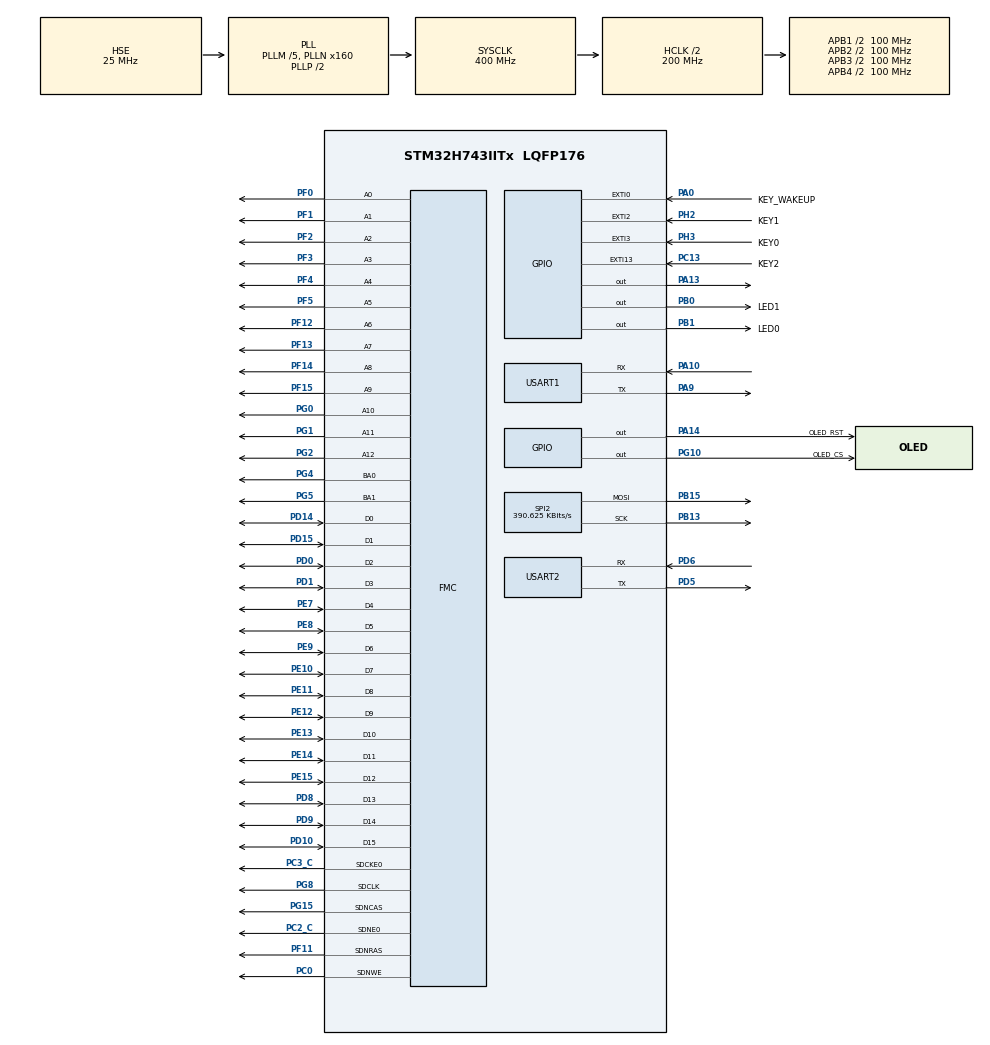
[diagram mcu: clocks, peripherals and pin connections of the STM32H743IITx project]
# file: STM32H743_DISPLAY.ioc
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CORTEX_M7.CPU_DCache=Enabled
CORTEX_M7.CPU_ICache=Enabled
CORTEX_M7.default_mode_Activation=0
FMC.CASLatency1=FMC_SDRAM_CAS_LATENCY_2
FMC.ColumnBitsNumber1=FMC_SDRAM_COLUMN_BITS_NUM_9
FMC.ExitSelfRefreshDelay1=8
FMC.LoadToActiveDelay1=2
FMC.RCDDelay1=2
FMC.RPDelay1=2
FMC.RPDelay2=2
FMC.ReadBurst1=FMC_SDRAM_RBURST_ENABLE
FMC.ReadBurst2=FMC_SDRAM_RBURST_ENABLE
FMC.ReadPipeDelay1=FMC_SDRAM_RPIPE_DELAY_0
FMC.RowCycleDelay1=6
FMC.RowCycleDelay2=6
FMC.SDClockPeriod1=FMC_SDRAM_CLOCK_PERIOD_2
FMC.SDClockPeriod2=FMC_SDRAM_CLOCK_PERIOD_2
FMC.SelfRefreshTime1=6
FMC.WriteRecoveryTime1=4
Mcu.Family=STM32H7
Mcu.Name=STM32H743IITx
Mcu.Package=LQFP176
NVIC.EXTI0_IRQn=true\:0\:0\:false\:false\:true\:true\:true\:true
NVIC.EXTI15_10_IRQn=true\:0\:0\:false\:false\:true\:true\:true\:true
NVIC.EXTI2_IRQn=true\:0\:0\:false\:false\:true\:true\:true\:true
NVIC.EXTI3_IRQn=true\:0\:0\:false\:false\:true\:true\:true\:true
NVIC.PriorityGroup=NVIC_PRIORITYGROUP_4
PA0.GPIO_Label=KEY_WAKEUP
PA0.GPIO_ModeDefaultEXTI=GPIO_MODE_IT_RISING
PA0.GPIO_PuPd=GPIO_PULLDOWN
PA0.Signal=GPXTI0
PA10.GPIO_PuPd=GPIO_PULLUP
PA10.GPIO_Speed=GPIO_SPEED_FREQ_HIGH
PA10.Mode=Asynchronous
PA10.Signal=USART1_RX
PA13\ (JTMS/SWDIO).Signal=GPIO_Output
PA14\ (JTCK/SWCLK).GPIO_Label=OLED_RST
PA14\ (JTCK/SWCLK).GPIO_PuPd=GPIO_PULLUP
PA14\ (JTCK/SWCLK).PinState=GPIO_PIN_SET
PA14\ (JTCK/SWCLK).Signal=GPIO_Output
PA9.GPIO_PuPd=GPIO_PULLUP
PA9.GPIO_Speed=GPIO_SPEED_FREQ_HIGH
PA9.Mode=Asynchronous
PA9.Signal=USART1_TX
PB0.GPIO_Label=LED1
PB0.GPIO_PuPd=GPIO_PULLDOWN
PB0.PinState=GPIO_PIN_SET
PB0.Signal=GPIO_Output
PB1.GPIO_Label=LED0
PB1.GPIO_PuPd=GPIO_PULLDOWN
PB1.PinState=GPIO_PIN_SET
PB1.Signal=GPIO_Output
PB13.Mode=TX_Only_Simplex_Unidirect_Master
PB13.Signal=SPI2_SCK
PB15.Mode=TX_Only_Simplex_Unidirect_Master
PB15.Signal=SPI2_MOSI
PC0.Signal=FMC_SDNWE
PC13.GPIO_Label=KEY2
PC13.GPIO_PuPd=GPIO_PULLUP
PC13.Signal=GPXTI13
PC14-OSC32_IN\ (OSC32_IN).Mode=LSE-External-Oscillator
PC14-OSC32_IN\ (OSC32_IN).Signal=RCC_OSC32_IN
PC15-OSC32_OUT\ (OSC32_OUT).Mode=LSE-External-Oscillator
PC15-OSC32_OUT\ (OSC32_OUT).Signal=RCC_OSC32_OUT
PC2_C.Mode=SdramChipSelect1_1
PC2_C.Signal=FMC_SDNE0
PC3_C.Mode=SdramChipSelect1_1
PC3_C.Signal=FMC_SDCKE0
PD0.Signal=FMC_D2_DA2
PD1.Signal=FMC_D3_DA3
PD10.Signal=FMC_D15_DA15
PD14.Signal=FMC_D0_DA0
PD15.Signal=FMC_D1_DA1
PD5.GPIO_PuPd=GPIO_PULLUP
PD5.GPIO_Speed=GPIO_SPEED_FREQ_HIGH
PD5.Mode=Asynchronous
PD5.Signal=USART2_TX
PD6.GPIO_PuPd=GPIO_PULLUP
PD6.GPIO_Speed=GPIO_SPEED_FREQ_HIGH
PD6.Mode=Asynchronous
PD6.Signal=USART2_RX
PD8.Signal=FMC_D13_DA13
PD9.Signal=FMC_D14_DA14
PE10.Signal=FMC_D7_DA7
PE11.Signal=FMC_D8_DA8
PE12.Signal=FMC_D9_DA9
PE13.Signal=FMC_D10_DA10
PE14.Signal=FMC_D11_DA11
PE15.Signal=FMC_D12_DA12
PE7.Signal=FMC_D4_DA4
PE8.Signal=FMC_D5_DA5
PE9.Signal=FMC_D6_DA6
PF0.Signal=FMC_A0
PF1.Signal=FMC_A1
PF11.Signal=FMC_SDNRAS
PF12.Signal=FMC_A6
PF13.Signal=FMC_A7
PF14.Signal=FMC_A8
PF15.Signal=FMC_A9
PF2.Signal=FMC_A2
PF3.Signal=FMC_A3
PF4.Signal=FMC_A4
PF5.Signal=FMC_A5
PG0.Signal=FMC_A10
PG1.Signal=FMC_A11
PG10.GPIO_Label=OLED_CS
PG10.GPIO_PuPd=GPIO_PULLUP
PG10.GPIO_Speed=GPIO_SPEED_FREQ_HIGH
PG10.PinState=GPIO_PIN_SET
PG10.Signal=GPIO_Output
PG15.Signal=FMC_SDNCAS
PG2.Signal=FMC_A12
PG4.Signal=FMC_A14_BA0
PG5.Signal=FMC_A15_BA1
PG8.Signal=FMC_SDCLK
PH0-OSC_IN\ (PH0).Mode=HSE-External-Oscillator
PH0-OSC_IN\ (PH0).Signal=RCC_OSC_IN
PH1-OSC_OUT\ (PH1).Mode=HSE-External-Oscillator
PH1-OSC_OUT\ (PH1).Signal=RCC_OSC_OUT
PH2.GPIO_Label=KEY1
PH2.GPIO_PuPd=GPIO_PULLUP
PH2.Signal=GPXTI2
PH3.GPIO_Label=KEY0
PH3.GPIO_PuPd=GPIO_PULLUP
PH3.Signal=GPXTI3
ProjectManager.HeapSize=0x1000
ProjectManager.StackSize=0x1000
ProjectManager.TargetToolchain=MDK-ARM V5.32
RCC.ADCFreq_Value=100000000
RCC.APB1Freq_Value=100000000
RCC.APB2Freq_Value=100000000
RCC.APB3Freq_Value=100000000
RCC.APB4Freq_Value=100000000
RCC.CortexFreq_Value=400000000
RCC.D1PPRE=RCC_APB3_DIV2
RCC.D2PPRE1=RCC_APB1_DIV2
RCC.D2PPRE2=RCC_APB2_DIV2
RCC.D3PPRE=RCC_APB4_DIV2
RCC.DIVM1=5
RCC.DIVM2=5
RCC.DIVM3=25
RCC.DIVN1=160
RCC.DIVN2=100
RCC.DIVN3=512
RCC.DIVP2=5
RCC.DIVR2=5
RCC.FMCCLockSelection=RCC_FMCCLKSOURCE_PLL2
RCC.HCLKFreq_Value=200000000
RCC.HPRE=RCC_HCLK_DIV2
RCC.PLLSourceVirtual=RCC_PLLSOURCE_HSE
RCC.SPI123CLockSelection=RCC_SPI123CLKSOURCE_PLL2
RCC.SYSCLKFreq_VALUE=400000000
RCC.SYSCLKSource=RCC_SYSCLKSOURCE_PLLCLK
RCC.USBFreq_Value=400000000
SH.FMC_A0.0=FMC_A0,13b-sda1
SH.FMC_A1.0=FMC_A1,13b-sda1
SH.FMC_A10.0=FMC_A10,13b-sda1
SH.FMC_A11.0=FMC_A11,13b-sda1
SH.FMC_A12.0=FMC_A12,13b-sda1
SH.FMC_A14_BA0.0=FMC_BA0,FourSdramBanks1
SH.FMC_A15_BA1.0=FMC_BA1,FourSdramBanks1
SH.FMC_A2.0=FMC_A2,13b-sda1
SH.FMC_A3.0=FMC_A3,13b-sda1
SH.FMC_A4.0=FMC_A4,13b-sda1
SH.FMC_A5.0=FMC_A5,13b-sda1
SH.FMC_A6.0=FMC_A6,13b-sda1
SH.FMC_A7.0=FMC_A7,13b-sda1
SH.FMC_A8.0=FMC_A8,13b-sda1
SH.FMC_A9.0=FMC_A9,13b-sda1
SH.FMC_D0_DA0.0=FMC_D0,sd-16b-d1
SH.FMC_D10_DA10.0=FMC_D10,sd-16b-d1
SH.FMC_D11_DA11.0=FMC_D11,sd-16b-d1
SH.FMC_D12_DA12.0=FMC_D12,sd-16b-d1
SH.FMC_D13_DA13.0=FMC_D13,sd-16b-d1
SH.FMC_D14_DA14.0=FMC_D14,sd-16b-d1
SH.FMC_D15_DA15.0=FMC_D15,sd-16b-d1
SH.FMC_D1_DA1.0=FMC_D1,sd-16b-d1
SH.FMC_D2_DA2.0=FMC_D2,sd-16b-d1
SH.FMC_D3_DA3.0=FMC_D3,sd-16b-d1
SH.FMC_D4_DA4.0=FMC_D4,sd-16b-d1
SH.FMC_D5_DA5.0=FMC_D5,sd-16b-d1
SH.FMC_D6_DA6.0=FMC_D6,sd-16b-d1
SH.FMC_D7_DA7.0=FMC_D7,sd-16b-d1
SH.FMC_D8_DA8.0=FMC_D8,sd-16b-d1
SH.FMC_D9_DA9.0=FMC_D9,sd-16b-d1
SH.FMC_SDCLK.0=FMC_SDCLK,13b-sda1
SH.FMC_SDNCAS.0=FMC_SDNCAS,13b-sda1
SH.FMC_SDNRAS.0=FMC_SDNRAS,13b-sda1
SH.FMC_SDNWE.0=FMC_SDNWE,13b-sda1
SPI2.BaudRatePrescaler=SPI_BAUDRATEPRESCALER_256
SPI2.CLKPhase=SPI_PHASE_2EDGE
SPI2.CLKPolarity=SPI_POLARITY_HIGH
SPI2.CalculateBaudRate=390.625 KBits/s
SPI2.DataSize=SPI_DATASIZE_8BIT
SPI2.Direction=SPI_DIRECTION_2LINES_TXONLY
SPI2.Mode=SPI_MODE_MASTER
SPI2.NSSPolarity=SPI_NSS_POLARITY_HIGH
SPI2.VirtualType=VM_MASTER
USART1.VirtualMode-Asynchronous=VM_ASYNC
USART2.ClockPrescaler=PRESCALER_DIV8
USART2.VirtualMode-Asynchronous=VM_ASYNC
board=custom

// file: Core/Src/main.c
/* USER CODE BEGIN Header */
/**
  ******************************************************************************
  * @file           : main.c
  * @brief          : Main program body
  ******************************************************************************
  * @attention
  *
  * Copyright (c) 2023 STMicroelectronics.
  * All rights reserved.
  *
  * This software is licensed under terms that can be found in the LICENSE file
  * in the root directory of this software component.
  * If no LICENSE file comes with this software, it is provided AS-IS.
  *
  ******************************************************************************
  */
/* USER CODE END Header */
#include "main.h"
#include "spi.h"
#include "usart.h"
#include "gpio.h"
#include "fmc.h"

/* USER CODE BEGIN Includes */
#include "oled.h"
#include <stdio.h>
#include <string.h>
/* USER CODE END Includes */

/* USER CODE BEGIN PD */
#define LED0_TG         HAL_GPIO_TogglePin(GPIOB, GPIO_PIN_1)
#define LED1_TG         HAL_GPIO_TogglePin(GPIOB, GPIO_PIN_0)
#define LED0(x)  	    HAL_GPIO_WritePin(GPIOB,GPIO_PIN_1,((x) == 0 ? GPIO_PIN_RESET : GPIO_PIN_SET))
#define LED1(x)  	    HAL_GPIO_WritePin(GPIOB,GPIO_PIN_0,((x) == 0 ? GPIO_PIN_RESET : GPIO_PIN_SET))
/* USER CODE END PD */

/* USER CODE BEGIN PV */
extern UART_HandleTypeDef huart1;
extern UART_HandleTypeDef huart2;
extern SDRAM_HandleTypeDef hsdram1;

static uint8_t key[256] = {0};

uint16_t testsram[250000] __attribute__((at(0xC0000000)));

/* USER CODE END PV */

void SystemClock_Config(void);
void PeriphCommonClock_Config(void);

/* USER CODE BEGIN 0 */
/**
  * @brief  EXTI line detection callback.
  * @param  GPIO_Pin: Specifies the port pin connected to corresponding EXTI line.
  * @retval None
  */
void HAL_GPIO_EXTI_Callback(uint16_t GPIO_Pin)
{
  /* Prevent unused argument(s) compilation warning */
  memset(key, 0, 256);
  switch (GPIO_Pin)
  {
  case GPIO_PIN_0 :
    memcpy(key, "WakeUp", 6);
    break;
  case GPIO_PIN_2 :
    memcpy(key, "Key1  ", 6);
    break;
  case GPIO_PIN_3 :
    memcpy(key, "Key0  ", 6);
    break;
  case GPIO_PIN_13 :
    memcpy(key, "Key2  ", 6);
    break;
  default:
    break;
  };

}

void fsmc_sdram_test(uint16_t x,uint16_t y)
{
  uint32_t i=0;
  uint32_t temp=0;
  uint32_t sval=0;
  OLED_ShowString(x,y, (uint8_t *)"sdram:", 12);
  for(i=0;i<32*1024*1024;i+=16*1024)
  {
    *(uint32_t*)(Bank5_SDRAM_ADDR+i)=temp;
    temp++;
  }
  for(i=0;i<32*1024*1024;i+=16*1024)
  {
    temp=*(uint32_t*)(Bank5_SDRAM_ADDR+i);
    printf("%d ---- temp = %#x, sval = %#x\r\n", i, temp, sval);
	  if(i==0)
      sval=temp;
 	  else if(temp<=sval)
    {
      printf("return!!! temp = %d, sval = %d\r\n", temp, sval);
      break;
    }
	  OLED_ShowNum(x+36,y,(uint16_t)(temp-sval+1)*16,5,12);
    OLED_Refresh_Gram();
    HAL_Delay(500);
  }
}
/* USER CODE END 0 */

int main(void)
{
  /* USER CODE BEGIN 1 */
  uint8_t t = 0,led0stat = 0,led1stat = 1;
  uint32_t ts = 0;

  /* USER CODE END 1 */

  /* Enable I-Cache---------------------------------------------------------*/
  SCB_EnableICache();

  /* Enable D-Cache---------------------------------------------------------*/
  SCB_EnableDCache();

  /* MCU Configuration--------------------------------------------------------*/

  /* Reset of all peripherals, Initializes the Flash interface and the Systick. */
  HAL_Init();

  /* Configure the system clock */
  SystemClock_Config();

/* Configure the peripherals common clocks */
  PeriphCommonClock_Config();

  /* Initialize all configured peripherals */
  MX_GPIO_Init();
  MX_SPI2_Init();
  MX_USART1_UART_Init();
  MX_USART2_UART_Init();
  MX_FMC_Init();
  /* USER CODE BEGIN 2 */
  OLED_Init();
  OLED_ShowString(0,0,(const uint8_t *)"Alias",24);
  OLED_ShowString(0,24, (const uint8_t *)"0.96' OLED TEST",16);
  OLED_ShowString(0,40,(const uint8_t *)"KEY Press:",12);
  OLED_ShowString(0,52,(const uint8_t *)"ASCII:",12);
  OLED_ShowString(64,52,(const uint8_t *)"CODE:",12);
  OLED_Refresh_Gram();
  t=' ';
  // OLED_ShowChinese(0,0,32,1);

  printf("start test\r\n");
  for(ts=0;ts<250000;ts++)
  {
    testsram[ts]=ts;
  }

  /* USER CODE END 2 */

  /* Infinite loop */
  while (1)
  {

    /* USER CODE BEGIN 3 */
    printf("start test\r\n");
    OLED_ShowChar(36,52,t,12,1);
    OLED_ShowNum(94,52,t,3,12);
    OLED_ShowString(60,40,(const uint8_t *)key,12);
    OLED_Refresh_Gram();
    t++;
    if(t>'~')
      t=' ';

    // LED1_TG;
    // LED0_TG;
    LED0(led0stat ^= 1);
    LED1(led1stat ^= 1);
    HAL_Delay(500);
    HAL_UART_Transmit(&huart2,(uint8_t*)"nihao\r\n",7,1000);
    while(__HAL_UART_GET_FLAG(&huart2,UART_FLAG_TC)!=SET);

    if (strcmp((char*)key, "WakeUp") == 0)
    {
      memset(key, 0, 256);
      fsmc_sdram_test(0, 40);
      OLED_ShowString(0,40,(const uint8_t *)"KEY Press:          ",12);
      HAL_Delay(500);
    }

  }
  /* USER CODE END 3 */
}

void SystemClock_Config(void)
{
  RCC_OscInitTypeDef RCC_OscInitStruct = {0};
  RCC_ClkInitTypeDef RCC_ClkInitStruct = {0};

  /** Supply configuration update enable
  */
  HAL_PWREx_ConfigSupply(PWR_LDO_SUPPLY);

  /** Configure the main internal regulator output voltage
  */
  __HAL_PWR_VOLTAGESCALING_CONFIG(PWR_REGULATOR_VOLTAGE_SCALE1);

  while(!__HAL_PWR_GET_FLAG(PWR_FLAG_VOSRDY)) {}

  /** Initializes the RCC Oscillators according to the specified parameters
  * in the RCC_OscInitTypeDef structure.
  */
  RCC_OscInitStruct.OscillatorType = RCC_OSCILLATORTYPE_HSE;
  RCC_OscInitStruct.HSEState = RCC_HSE_ON;
  RCC_OscInitStruct.PLL.PLLState = RCC_PLL_ON;
  RCC_OscInitStruct.PLL.PLLSource = RCC_PLLSOURCE_HSE;
  RCC_OscInitStruct.PLL.PLLM = 5;
  RCC_OscInitStruct.PLL.PLLN = 160;
  RCC_OscInitStruct.PLL.PLLP = 2;
  RCC_OscInitStruct.PLL.PLLQ = 2;
  RCC_OscInitStruct.PLL.PLLR = 2;
  RCC_OscInitStruct.PLL.PLLRGE = RCC_PLL1VCIRANGE_2;
  RCC_OscInitStruct.PLL.PLLVCOSEL = RCC_PLL1VCOWIDE;
  RCC_OscInitStruct.PLL.PLLFRACN = 0;
  if (HAL_RCC_OscConfig(&RCC_OscInitStruct) != HAL_OK)
  {
    Error_Handler();
  }

  /** Initializes the CPU, AHB and APB buses clocks
  */
  RCC_ClkInitStruct.ClockType = RCC_CLOCKTYPE_HCLK|RCC_CLOCKTYPE_SYSCLK
                              |RCC_CLOCKTYPE_PCLK1|RCC_CLOCKTYPE_PCLK2
                              |RCC_CLOCKTYPE_D3PCLK1|RCC_CLOCKTYPE_D1PCLK1;
  RCC_ClkInitStruct.SYSCLKSource = RCC_SYSCLKSOURCE_PLLCLK;
  RCC_ClkInitStruct.SYSCLKDivider = RCC_SYSCLK_DIV1;
  RCC_ClkInitStruct.AHBCLKDivider = RCC_HCLK_DIV2;
  RCC_ClkInitStruct.APB3CLKDivider = RCC_APB3_DIV2;
  RCC_ClkInitStruct.APB1CLKDivider = RCC_APB1_DIV2;
  RCC_ClkInitStruct.APB2CLKDivider = RCC_APB2_DIV2;
  RCC_ClkInitStruct.APB4CLKDivider = RCC_APB4_DIV2;

  if (HAL_RCC_ClockConfig(&RCC_ClkInitStruct, FLASH_LATENCY_2) != HAL_OK)
  {
    Error_Handler();
  }
}

void PeriphCommonClock_Config(void)
{
  RCC_PeriphCLKInitTypeDef PeriphClkInitStruct = {0};

  /** Initializes the peripherals clock
  */
  PeriphClkInitStruct.PeriphClockSelection = RCC_PERIPHCLK_FMC|RCC_PERIPHCLK_SPI2;
  PeriphClkInitStruct.PLL2.PLL2M = 5;
  PeriphClkInitStruct.PLL2.PLL2N = 100;
  PeriphClkInitStruct.PLL2.PLL2P = 5;
  PeriphClkInitStruct.PLL2.PLL2Q = 2;
  PeriphClkInitStruct.PLL2.PLL2R = 5;
  PeriphClkInitStruct.PLL2.PLL2RGE = RCC_PLL2VCIRANGE_2;
  PeriphClkInitStruct.PLL2.PLL2VCOSEL = RCC_PLL2VCOWIDE;
  PeriphClkInitStruct.PLL2.PLL2FRACN = 0;
  PeriphClkInitStruct.FmcClockSelection = RCC_FMCCLKSOURCE_PLL2;
  PeriphClkInitStruct.Spi123ClockSelection = RCC_SPI123CLKSOURCE_PLL2;
  if (HAL_RCCEx_PeriphCLKConfig(&PeriphClkInitStruct) != HAL_OK)
  {
    Error_Handler();
  }
}

/* USER CODE BEGIN 4 */
struct __FILE
{
	int handle;
};

FILE __stdout;
void _sys_exit(int x)
{
	x = x;
}
int fputc(int ch, FILE *f)
{
	while((USART1->ISR&0x40)==0);
	USART1->TDR=(uint8_t)ch;
	return ch;
}
/* USER CODE END 4 */

void Error_Handler(void)
{
  __disable_irq();
  while (1)
  {
  }
}
